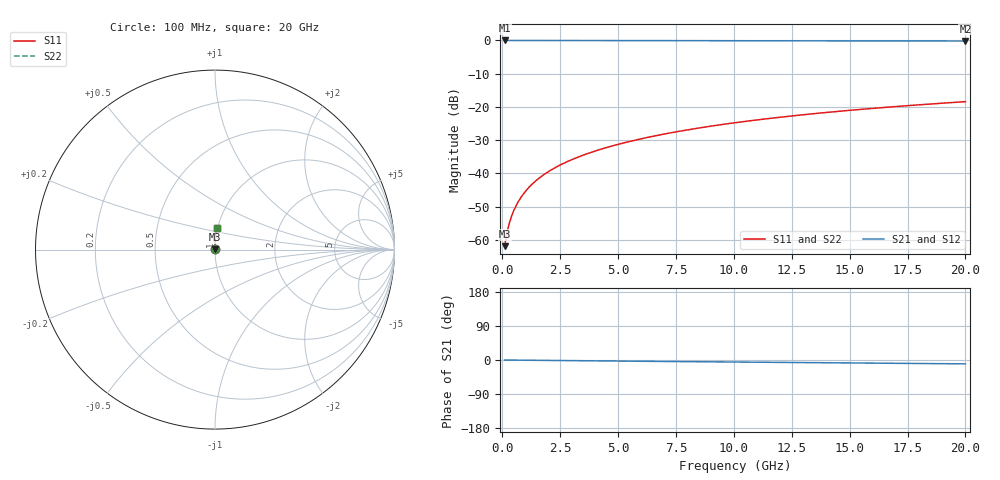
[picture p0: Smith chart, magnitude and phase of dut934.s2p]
! Touchstone file exported from HFSS 2024.1.0
!  File:  C:/UserFiles/LocalFiles/RDL_TSV_Batchsim/temp_RDL_bottom_934_1779941534.aedt
!  Generated:  12:14:11 PM May 28, 2026
!  Design:  RDL_bottom
!  Project:  temp_RDL_bottom_934_1779941534
!  Setup:  Setup1
!  Solution:  Sweep
! Variables:
!  dtsv = 10.80580581um
!  hbump = 3um
!  htsv = 57.46um
!  ldown = 113.47um
!  lrdl = 100um
!  p = 40
!  p1 = 50.42um
!  rhole = 1um
!  t = 450um
!  tdown = 4.64um
!  trdl = 3.915915916um
!  wdown = 21.89um
!  wrdl = 20um
# GHz S MA R 50.000000
! Terminal data exported
! Port[1] = RDL1_T1
! Port[2] = RDL1_T2
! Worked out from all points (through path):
!   200 points, 100 MHz to 20 GHz, reference 50 ohm
!   highest |S21| = 0.00 dB at 100 MHz (marker M1); lowest = -0.2 dB at 20 GHz (marker M2)
!   group delay of S21, straight-line fit = 1.4 ps
!   lowest |S11| = -61.9 dB at 100 MHz (marker M3), VSWR 1.00, Z = 50.1 + j0.057 ohm
!   |S11| at or under -10 dB: start of sweep to end of sweep
!   |S22| runs from -61.9 to -18.4 dB; largest |S21 - S12| = 5e-15
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0.1  0.0008003 45.4  0.9994 -0.1  0.9994 -0.1  0.0008003 45.4
! Gamma 0 0 0 0
! Port Impedance 50 0 50 0
0.2  0.001263 62.1  0.9994 -0.1  0.9994 -0.1  0.001263 62.1
0.3  0.001757 69.6  0.9994 -0.2  0.9994 -0.2  0.001757 69.6
0.4  0.002259 73.9  0.9993 -0.2  0.9993 -0.2  0.002259 73.9
0.5  0.002766 76.7  0.9993 -0.3  0.9993 -0.3  0.002766 76.7
0.6  0.003278 78.8  0.9993 -0.4  0.9993 -0.4  0.003278 78.8
0.8  0.004311 81.6  0.9992 -0.5  0.9992 -0.5  0.004311 81.6
1.1  0.005878 84.0  0.9991 -0.6  0.9991 -0.6  0.005878 84.0
1.5  0.007987 85.9  0.9989 -0.9  0.9989 -0.9  0.007987 85.9
1.8  0.009581 86.8  0.9987 -1.0  0.9987 -1.0  0.009581 86.8
2.1  0.01118 87.5  0.9985 -1.2  0.9985 -1.2  0.01118 87.5
2.7  0.01442 88.5  0.9981 -1.6  0.9981 -1.6  0.01442 88.5
3.5  0.01881 89.3  0.9973 -2.0  0.9973 -2.0  0.01881 89.3
4.2  0.02272 89.8  0.9966 -2.4  0.9966 -2.4  0.02272 89.8
5  0.02728 90.1  0.9956 -2.8  0.9956 -2.8  0.02728 90.1
5.9  0.03251 90.3  0.9946 -3.3  0.9946 -3.3  0.03251 90.3
6.8  0.03785 90.2  0.9935 -3.8  0.9935 -3.8  0.03785 90.3
8.4  0.04754 89.9  0.9915 -4.6  0.9915 -4.6  0.04754 89.9
10.1  0.05804 89.3  0.9895 -5.4  0.9895 -5.4  0.05804 89.3
13.4  0.07867 87.6  0.9859 -7.0  0.9859 -7.0  0.07868 87.6
16.7  0.09932 85.7  0.9824 -8.6  0.9824 -8.6  0.09933 85.7
20  0.1198 83.7  0.9789 -10.2  0.9789 -10.2  0.1198 83.7
